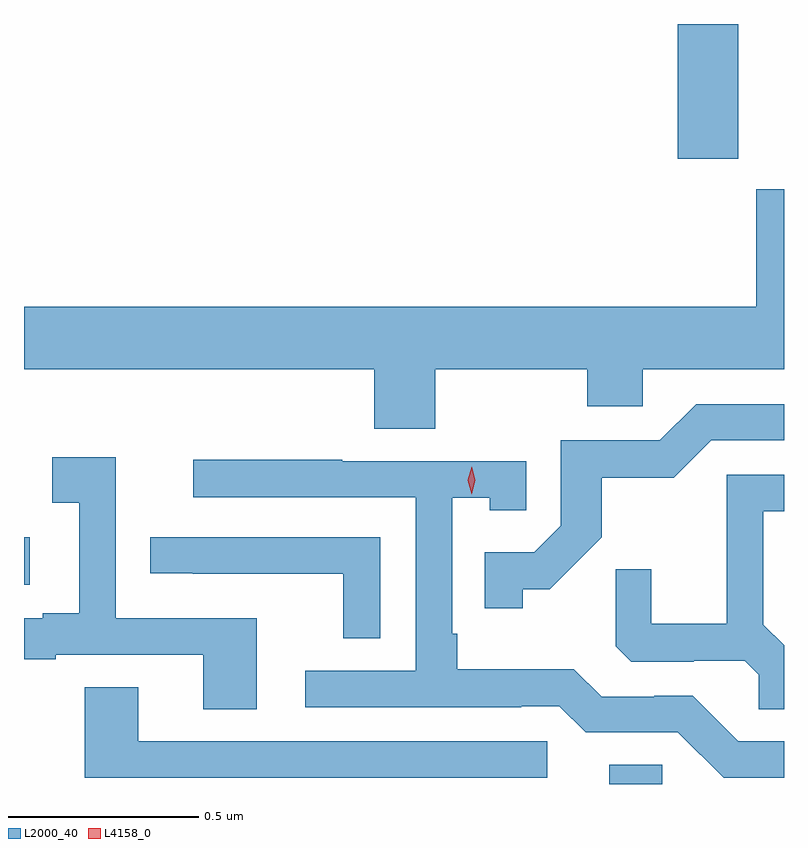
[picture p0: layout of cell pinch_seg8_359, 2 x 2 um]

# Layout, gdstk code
import gdstk
lib = gdstk.Library(unit=1e-6, precision=1e-09)
def R(c, l, rs):  # rectangles x0, y0, x1, y1
    for r in rs: c.add(gdstk.rectangle(r[:2], r[2:], *l))
def P(c, l, *ps):  # polygons
    for p in ps: c.add(gdstk.Polygon(p, *l))
L2000_40 = (2000, 40)
L4158_0 = (4158, 0)

pinch_seg8_359 = lib.new_cell('pinch_seg8_359')
R(pinch_seg8_359, L2000_40, [(439.145,1162.028,439.284,1162.079), (437.605,1162.553,437.62,1162.677), (439.325,1163.673,439.485,1164.028)])
P(pinch_seg8_359, L2000_40, [(438.687,1163.12),(439.087,1163.12),(439.087,1163.022),(439.233,1163.022),(439.233,1163.12),(439.605,1163.12),(439.605,1163.593),(439.532,1163.593),(439.532,1163.284),(437.605,1163.284),(437.605,1163.12),(438.527,1163.12),(438.527,1162.963),(438.687,1162.963)],
  [(438.918,1162.541),(438.988,1162.541),(439.126,1162.678),(439.126,1162.834),(439.315,1162.834),(439.413,1162.932),(439.605,1162.932),(439.605,1163.028),(439.374,1163.028),(439.278,1162.932),(439.017,1162.932),(439.017,1162.707),(438.948,1162.638),(438.817,1162.638),(438.817,1162.491),(438.918,1162.491)],
  [(438.217,1162.464),(437.847,1162.464),(437.847,1162.888),(437.679,1162.888),(437.679,1162.768),(437.75,1162.768),(437.75,1162.477),(437.654,1162.477),(437.654,1162.464),(437.605,1162.464),(437.605,1162.356),(437.689,1162.356),(437.689,1162.368),(438.077,1162.368),(438.077,1162.225),(438.217,1162.225)],
  [(439.605,1162.14),(439.485,1162.14),(439.365,1162.26),(439.264,1162.26),(439.264,1162.257),(439.125,1162.257),(439.052,1162.33),(438.745,1162.33),(438.745,1162.423),(438.732,1162.423),(438.732,1162.781),(438.831,1162.781),(438.831,1162.749),(438.927,1162.749),(438.927,1162.878),(438.443,1162.878),(438.443,1162.881),(438.051,1162.881),(438.051,1162.782),(438.636,1162.782),(438.636,1162.326),(438.345,1162.326),(438.345,1162.23),(438.914,1162.23),(438.914,1162.233),(439.014,1162.233),(439.083,1162.164),(439.326,1162.164),(439.446,1162.044),(439.605,1162.044)],
  [(439.605,1162.393),(439.551,1162.447),(439.551,1162.746),(439.605,1162.746),(439.605,1162.842),(439.454,1162.842),(439.454,1162.45),(439.256,1162.45),(439.256,1162.593),(439.162,1162.593),(439.162,1162.391),(439.203,1162.35),(439.368,1162.35),(439.368,1162.353),(439.502,1162.353),(439.539,1162.316),(439.539,1162.225),(439.605,1162.225)],
  [(438.543,1162.677),(437.937,1162.677),(437.937,1162.582),(438.049,1162.582),(438.049,1162.581),(438.445,1162.581),(438.445,1162.411),(438.543,1162.411)],
  [(438.982,1162.14),(437.905,1162.14),(437.905,1162.283),(437.765,1162.283),(437.765,1162.044),(438.982,1162.044)])
P(pinch_seg8_359, L4158_0, [(438.783,1162.791),(438.783,1162.791),(438.773,1162.827),(438.783,1162.863),(438.783,1162.863),(438.783,1162.863),(438.793,1162.827),(438.783,1162.791)])

lib.write_gds('pinch_seg8_359.gds')
